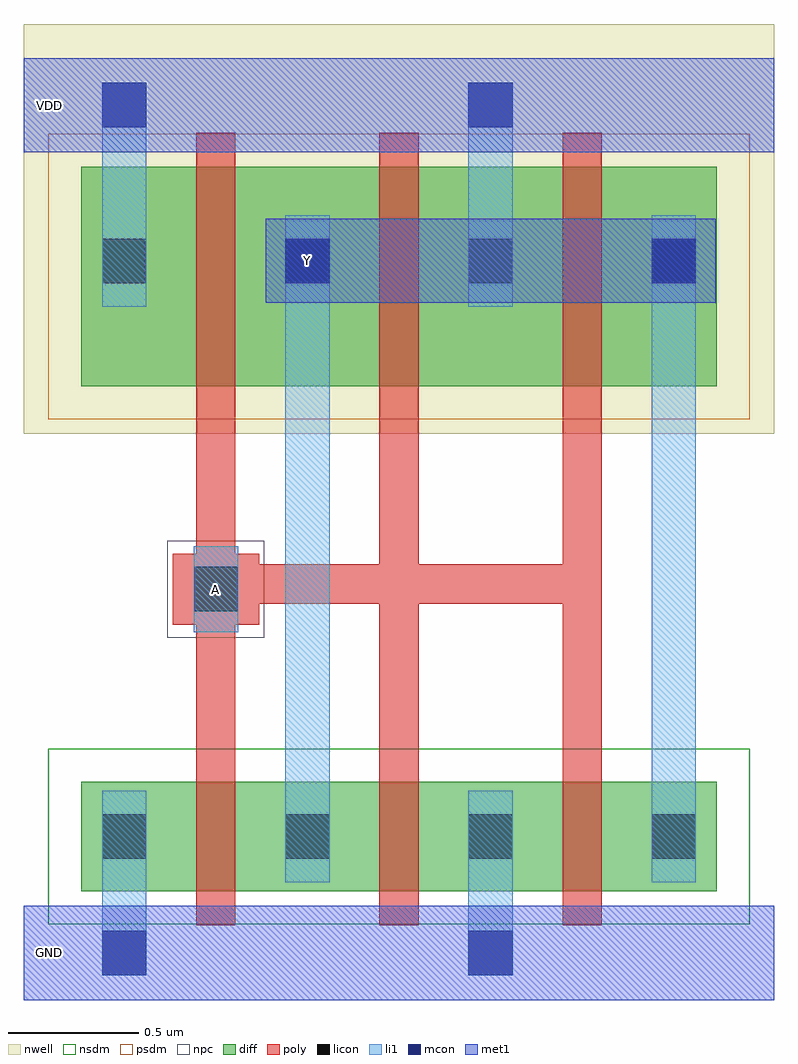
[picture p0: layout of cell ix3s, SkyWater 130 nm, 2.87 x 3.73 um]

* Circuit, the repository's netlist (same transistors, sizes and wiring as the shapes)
* NGSPICE file created from ix3s.ext - technology: sky130A

.subckt ix3s A Y VDD GND
X0 GND A Y VSUBS sky130_fd_pr__nfet_01v8 ad=0.1155 pd=0.97 as=0.1155 ps=0.97 w=0.42 l=0.15
X1 Y A VDD w_0_397# sky130_fd_pr__pfet_01v8 ad=0.3696 pd=2.56 as=0.231 ps=1.39 w=0.84 l=0.15
X2 VDD A Y w_0_397# sky130_fd_pr__pfet_01v8 ad=0.231 pd=1.39 as=0.231 ps=1.39 w=0.84 l=0.15
X3 Y A VDD w_0_397# sky130_fd_pr__pfet_01v8 ad=0.231 pd=1.39 as=0.3696 ps=2.56 w=0.84 l=0.15
X4 Y A GND VSUBS sky130_fd_pr__nfet_01v8 ad=0.1848 pd=1.72 as=0.1155 ps=0.97 w=0.42 l=0.15
X5 Y A GND VSUBS sky130_fd_pr__nfet_01v8 ad=0.1155 pd=0.97 as=0.1848 ps=1.72 w=0.42 l=0.15
.ends

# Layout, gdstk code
import gdstk
lib = gdstk.Library(unit=1e-6, precision=1e-09)
def R(c, l, rs):  # rectangles x0, y0, x1, y1
    for r in rs: c.add(gdstk.rectangle(r[:2], r[2:], *l))
def A(c, l, x, y, w, h, nx, ny, dx, dy):  # array of equal rectangles
    R(c, l, [(x+i*dx, y+j*dy, x+i*dx+w, y+j*dy+h) for i in range(nx) for j in range(ny)])
nwell = (64, 20)
diff = (65, 20)
poly = (66, 20)
licon = (66, 44)
li1 = (67, 20)
mcon = (67, 44)
met1 = (68, 20)
nsdm = (93, 44)
psdm = (94, 20)
npc = (95, 20)

ix3s = lib.new_cell('ix3s')
R(ix3s, nwell, [(0,1.985,2.87,3.55)])
R(ix3s, diff, [(0.22,0.235,2.65,0.655), (0.22,2.165,2.65,3.005)])
R(ix3s, poly, [(0.66,0.105,0.81,1.255), (1.36,0.105,1.51,1.335), (2.06,0.105,2.21,1.335), (0.57,1.255,0.9,1.335), (0.57,1.335,2.21,1.485), (0.57,1.485,0.9,1.525), (1.36,1.485,1.51,3.135), (2.06,1.485,2.21,3.135), (0.66,1.525,0.81,3.135)])
A(ix3s, licon, 0.3, 0.36, 0.17, 0.17, 4, 2, 0.7, 2.2)
R(ix3s, licon, [(0.65,1.305,0.82,1.475)])
R(ix3s, li1, [(0.3,-0.085,0.47,0.62), (1.7,-0.085,1.87,0.62), (1,0.27,1.17,2.82), (2.4,0.27,2.57,2.82), (0.65,1.225,0.82,1.555), (0.3,2.47,0.47,3.325), (1.7,2.47,1.87,3.325)])
R(ix3s, mcon, [(0.3,-0.085,0.47,0.085), (1.7,-0.085,1.87,0.085), (1,2.56,1.17,2.73), (2.4,2.56,2.57,2.73), (0.3,3.155,0.47,3.325), (1.7,3.155,1.87,3.325)])
R(ix3s, met1, [(0,-0.18,2.87,0.18), (0.925,2.485,2.645,2.805), (0,3.06,2.87,3.42)])
R(ix3s, nsdm, [(0.095,0.11,2.775,0.78)])
R(ix3s, psdm, [(0.095,2.04,2.775,3.13)])
R(ix3s, npc, [(0.55,1.205,0.92,1.575)])
ix3s.add(gdstk.Label('A', (0.735,1.39), layer=67, texttype=5))
ix3s.add(gdstk.Label('Y', (1.085,2.645), layer=68, texttype=5))
ix3s.add(gdstk.Label('VDD', (0.1,3.24), layer=68, texttype=5))
ix3s.add(gdstk.Label('GND', (0.1,0), layer=68, texttype=5))

lib.write_gds('ix3s.gds')
